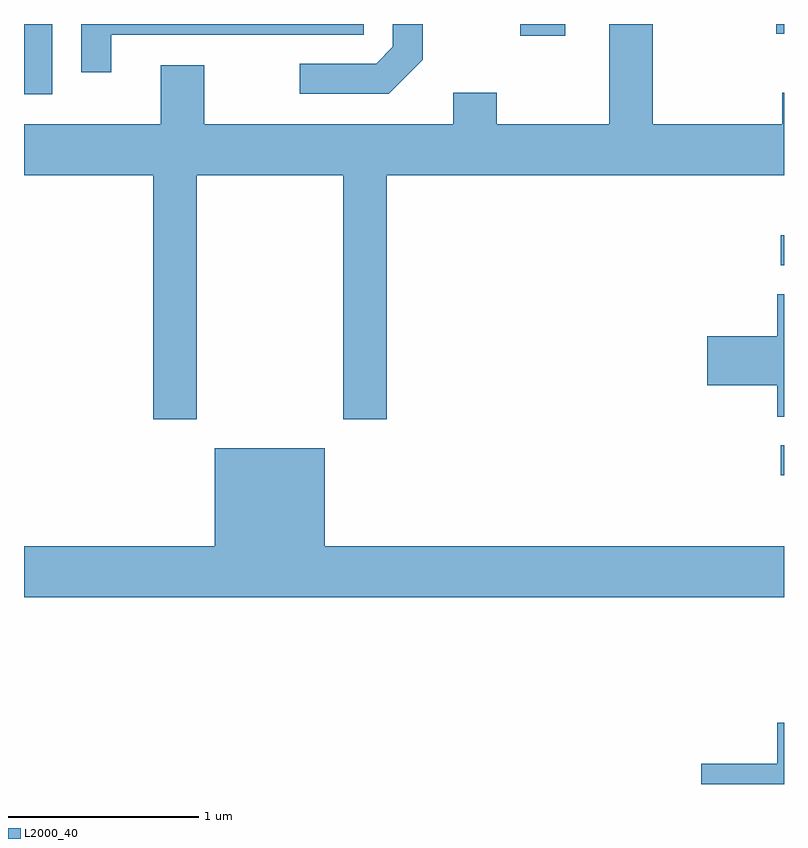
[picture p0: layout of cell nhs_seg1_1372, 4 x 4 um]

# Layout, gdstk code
import gdstk
lib = gdstk.Library(unit=1e-6, precision=1e-09)
def R(c, l, rs):  # rectangles x0, y0, x1, y1
    for r in rs: c.add(gdstk.rectangle(r[:2], r[2:], *l))
def P(c, l, *ps):  # polygons
    for p in ps: c.add(gdstk.Polygon(p, *l))
L2000_40 = (2000, 40)

nhs_seg1_1372 = lib.new_cell('nhs_seg1_1372')
R(nhs_seg1_1372, L2000_40, [(231.593,891.336,231.611,891.494), (231.593,892.441,231.611,892.599), (227.611,893.341,227.759,893.712), (230.223,893.651,230.459,893.712), (231.571,893.661,231.611,893.712)])
P(nhs_seg1_1372, L2000_40, [(228.519,892.916),(229.291,892.916),(229.291,891.631),(229.519,891.631),(229.519,892.916),(231.611,892.916),(231.611,893.349),(231.601,893.349),(231.601,893.184),(230.919,893.184),(230.919,893.712),(230.691,893.712),(230.691,893.184),(230.099,893.184),(230.099,893.349),(229.871,893.349),(229.871,893.184),(228.559,893.184),(228.559,893.494),(228.331,893.494),(228.331,893.184),(227.611,893.184),(227.611,892.916),(228.291,892.916),(228.291,891.631),(228.519,891.631)],
  [(229.709,893.524),(229.709,893.712),(229.551,893.712),(229.551,893.592),(229.464,893.504),(229.063,893.504),(229.063,893.346),(229.532,893.346)],
  [(228.069,893.656),(229.399,893.656),(229.399,893.712),(227.911,893.712),(227.911,893.458),(228.069,893.458)],
  [(231.611,892.289),(231.576,892.289),(231.576,892.069),(231.206,892.069),(231.206,891.811),(231.576,891.811),(231.576,891.646),(231.611,891.646)],
  [(231.611,890.964),(229.194,890.964),(229.194,891.479),(228.616,891.479),(228.616,890.964),(227.611,890.964),(227.611,890.696),(231.611,890.696)],
  [(231.611,890.034),(231.576,890.034),(231.576,889.819),(231.176,889.819),(231.176,889.712),(231.611,889.712)])

lib.write_gds('nhs_seg1_1372.gds')
